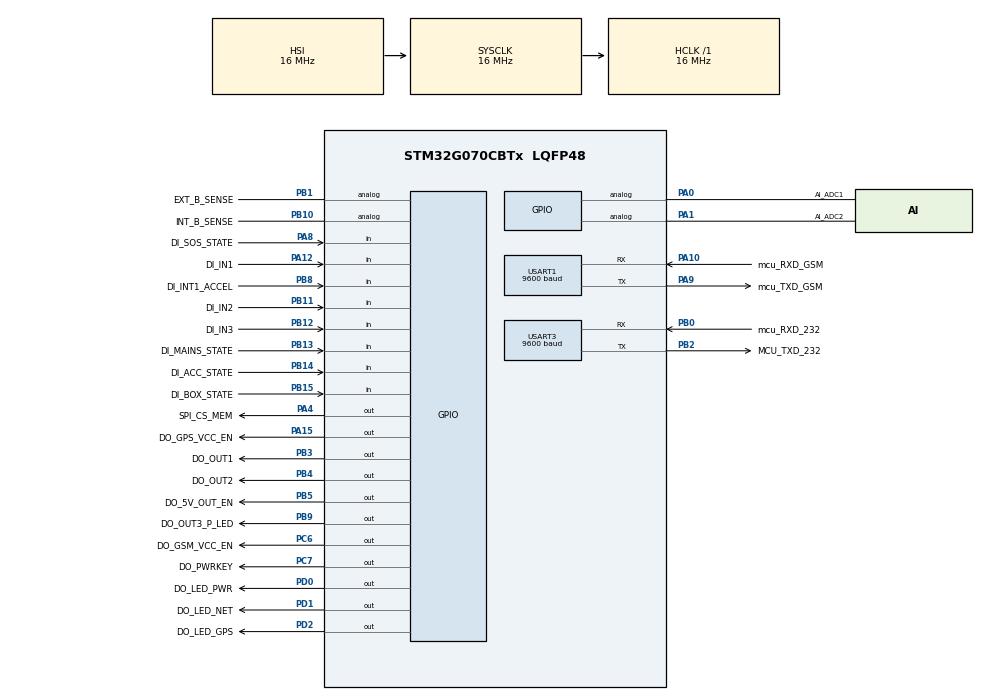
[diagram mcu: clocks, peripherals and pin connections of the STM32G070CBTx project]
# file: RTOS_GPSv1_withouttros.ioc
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Dma.Request0=USART1_RX
Dma.Request1=USART3_TX
Dma.USART1_RX.0.Direction=DMA_PERIPH_TO_MEMORY
Dma.USART1_RX.0.EventEnable=DISABLE
Dma.USART1_RX.0.Instance=DMA1_Channel2
Dma.USART1_RX.0.MemDataAlignment=DMA_MDATAALIGN_BYTE
Dma.USART1_RX.0.MemInc=DMA_MINC_ENABLE
Dma.USART1_RX.0.Mode=DMA_NORMAL
Dma.USART1_RX.0.PeriphDataAlignment=DMA_PDATAALIGN_BYTE
Dma.USART1_RX.0.PeriphInc=DMA_PINC_DISABLE
Dma.USART1_RX.0.Polarity=HAL_DMAMUX_REQ_GEN_RISING
Dma.USART1_RX.0.Priority=DMA_PRIORITY_LOW
Dma.USART1_RX.0.RequestNumber=1
Dma.USART1_RX.0.SignalID=NONE
Dma.USART1_RX.0.SyncEnable=DISABLE
Dma.USART1_RX.0.SyncPolarity=HAL_DMAMUX_SYNC_NO_EVENT
Dma.USART1_RX.0.SyncRequestNumber=1
Dma.USART1_RX.0.SyncSignalID=NONE
Dma.USART3_TX.1.Direction=DMA_MEMORY_TO_PERIPH
Dma.USART3_TX.1.EventEnable=DISABLE
Dma.USART3_TX.1.Instance=DMA1_Channel4
Dma.USART3_TX.1.MemDataAlignment=DMA_MDATAALIGN_BYTE
Dma.USART3_TX.1.MemInc=DMA_MINC_ENABLE
Dma.USART3_TX.1.Mode=DMA_NORMAL
Dma.USART3_TX.1.PeriphDataAlignment=DMA_PDATAALIGN_BYTE
Dma.USART3_TX.1.PeriphInc=DMA_PINC_DISABLE
Dma.USART3_TX.1.Polarity=HAL_DMAMUX_REQ_GEN_RISING
Dma.USART3_TX.1.Priority=DMA_PRIORITY_LOW
Dma.USART3_TX.1.RequestNumber=1
Dma.USART3_TX.1.SignalID=NONE
Dma.USART3_TX.1.SyncEnable=DISABLE
Dma.USART3_TX.1.SyncPolarity=HAL_DMAMUX_SYNC_NO_EVENT
Dma.USART3_TX.1.SyncRequestNumber=1
Dma.USART3_TX.1.SyncSignalID=NONE
Mcu.Family=STM32G0
Mcu.Name=STM32G070CBTx
Mcu.Package=LQFP48
NVIC.DMA1_Ch4_7_DMAMUX1_OVR_IRQn=true\:0\:0\:false\:false\:true\:false\:true\:true
NVIC.DMA1_Channel2_3_IRQn=true\:0\:0\:false\:false\:true\:false\:true\:true
NVIC.TIM1_BRK_UP_TRG_COM_IRQn=true\:3\:0\:false\:false\:true\:false\:true\:true
NVIC.TIM6_IRQn=true\:0\:0\:false\:false\:true\:true\:true\:true
NVIC.TimeBase=TIM1_BRK_UP_TRG_COM_IRQn
NVIC.TimeBaseIP=TIM1
NVIC.USART1_IRQn=true\:0\:0\:false\:false\:true\:true\:true\:true
NVIC.USART3_4_IRQn=true\:0\:0\:false\:false\:true\:true\:true\:true
PA0.GPIO_Label=AI_ADC1
PA0.GPIO_Mode=GPIO_MODE_ANALOG
PA0.GPIO_PuPd=GPIO_NOPULL
PA0.Signal=SharedAnalog_PA0
PA1.GPIO_Label=AI_ADC2
PA1.GPIO_Mode=GPIO_MODE_ANALOG
PA1.GPIO_PuPd=GPIO_NOPULL
PA1.Signal=SharedAnalog_PA1
PA10.GPIO_FMPA10=__NULL
PA10.GPIO_Label=mcu_RXD_GSM
PA10.GPIO_ModeDefaultPP=GPIO_MODE_AF_PP
PA10.GPIO_PuPd=GPIO_NOPULL
PA10.GPIO_Speed=GPIO_SPEED_FREQ_LOW
PA10.Mode=Asynchronous
PA10.Signal=USART1_RX
PA12\ [PA10].GPIO_Label=DI_IN1
PA12\ [PA10].GPIO_Mode=GPIO_MODE_INPUT
PA12\ [PA10].GPIO_PuPd=GPIO_NOPULL
PA12\ [PA10].Signal=GPIO_Input
PA13.GPIO_Label=SWDIO
PA13.Mode=Serial_Wire
PA13.Signal=SYS_SWDIO
PA14-BOOT0.GPIO_Label=SWCLK
PA14-BOOT0.Mode=Serial_Wire
PA14-BOOT0.Signal=SYS_SWCLK
PA15.GPIO_Label=DO_GPS_VCC_EN
PA15.GPIO_ModeDefaultOutputPP=GPIO_MODE_OUTPUT_PP
PA15.GPIO_PuPd=GPIO_NOPULL
PA15.GPIO_Speed=GPIO_SPEED_FREQ_LOW
PA15.PinState=GPIO_PIN_RESET
PA15.Signal=GPIO_Output
PA2.GPIO_ModeDefaultPP=GPIO_MODE_AF_PP
PA2.GPIO_PuPd=GPIO_NOPULL
PA2.GPIO_Speed=GPIO_SPEED_FREQ_LOW
PA2.PinState=GPIO_PIN_RESET
PA2.Signal=USART2_TX
PA3.GPIO_ModeDefaultPP=GPIO_MODE_AF_PP
PA3.GPIO_PuPd=GPIO_NOPULL
PA3.GPIO_Speed=GPIO_SPEED_FREQ_LOW
PA3.PinState=GPIO_PIN_RESET
PA3.Signal=USART2_RX
PA4.GPIO_Label=SPI_CS_MEM
PA4.Signal=GPIO_Output
PA5.GPIO_Label=SPI_CLK
PA5.GPIO_Mode=GPIO_MODE_AF_PP
PA5.GPIO_PuPd=GPIO_NOPULL
PA5.GPIO_Speed=GPIO_SPEED_FREQ_LOW
PA5.PinState=GPIO_PIN_RESET
PA5.Signal=SPI1_SCK
PA6.GPIO_Label=SPI_MISO
PA6.GPIO_Mode=GPIO_MODE_AF_PP
PA6.GPIO_PuPd=GPIO_NOPULL
PA6.GPIO_Speed=GPIO_SPEED_FREQ_LOW
PA6.PinState=GPIO_PIN_RESET
PA6.Signal=SPI1_MISO
PA7.GPIO_Label=SPI_MOSI
PA7.GPIO_Mode=GPIO_MODE_AF_PP
PA7.GPIO_PuPd=GPIO_NOPULL
PA7.GPIO_Speed=GPIO_SPEED_FREQ_LOW
PA7.PinState=GPIO_PIN_RESET
PA7.Signal=SPI1_MOSI
PA8.GPIO_Label=DI_SOS_STATE
PA8.GPIO_Mode=GPIO_MODE_INPUT
PA8.GPIO_PuPd=GPIO_NOPULL
PA8.Signal=GPIO_Input
PA9.GPIO_FMPA9=__NULL
PA9.GPIO_Label=mcu_TXD_GSM
PA9.GPIO_ModeDefaultPP=GPIO_MODE_AF_PP
PA9.GPIO_PuPd=GPIO_NOPULL
PA9.GPIO_Speed=GPIO_SPEED_FREQ_LOW
PA9.Mode=Asynchronous
PA9.Signal=USART1_TX
PB0.GPIO_Label=mcu_RXD_232
PB0.GPIO_ModeDefaultPP=GPIO_MODE_AF_PP
PB0.GPIO_PuPd=GPIO_NOPULL
PB0.GPIO_Speed=GPIO_SPEED_FREQ_LOW
PB0.Mode=Asynchronous
PB0.PinState=GPIO_PIN_RESET
PB0.Signal=USART3_RX
PB1.GPIO_Label=EXT_B_SENSE
PB1.GPIO_Mode=GPIO_MODE_ANALOG
PB1.GPIO_PuPd=GPIO_NOPULL
PB1.Signal=SharedAnalog_PB1
PB10.GPIO_Label=INT_B_SENSE
PB10.GPIO_Mode=GPIO_MODE_ANALOG
PB10.GPIO_PuPd=GPIO_NOPULL
PB10.Signal=SharedAnalog_PB10
PB11.GPIO_Label=DI_IN2
PB11.GPIO_Mode=GPIO_MODE_INPUT
PB11.GPIO_PuPd=GPIO_NOPULL
PB11.Signal=GPIO_Input
PB12.GPIO_Label=DI_IN3
PB12.GPIO_Mode=GPIO_MODE_INPUT
PB12.GPIO_PuPd=GPIO_NOPULL
PB12.Signal=GPIO_Input
PB13.GPIO_Label=DI_MAINS_STATE
PB13.GPIO_Mode=GPIO_MODE_INPUT
PB13.GPIO_PuPd=GPIO_NOPULL
PB13.Signal=GPIO_Input
PB14.GPIO_Label=DI_ACC_STATE
PB14.GPIO_Mode=GPIO_MODE_INPUT
PB14.GPIO_PuPd=GPIO_NOPULL
PB14.Signal=GPIO_Input
PB15.GPIO_Label=DI_BOX_STATE
PB15.GPIO_Mode=GPIO_MODE_INPUT
PB15.GPIO_PuPd=GPIO_NOPULL
PB15.Signal=GPIO_Input
PB2.GPIO_Label=MCU_TXD_232
PB2.GPIO_ModeDefaultPP=GPIO_MODE_AF_PP
PB2.GPIO_PuPd=GPIO_NOPULL
PB2.GPIO_Speed=GPIO_SPEED_FREQ_LOW
PB2.Mode=Asynchronous
PB2.PinState=GPIO_PIN_RESET
PB2.Signal=USART3_TX
PB3.GPIO_Label=DO_OUT1
PB3.GPIO_ModeDefaultOutputPP=GPIO_MODE_OUTPUT_PP
PB3.GPIO_PuPd=GPIO_NOPULL
PB3.GPIO_Speed=GPIO_SPEED_FREQ_LOW
PB3.PinState=GPIO_PIN_RESET
PB3.Signal=GPIO_Output
PB4.GPIO_Label=DO_OUT2
PB4.GPIO_ModeDefaultOutputPP=GPIO_MODE_OUTPUT_PP
PB4.GPIO_PuPd=GPIO_NOPULL
PB4.GPIO_Speed=GPIO_SPEED_FREQ_LOW
PB4.PinState=GPIO_PIN_RESET
PB4.Signal=GPIO_Output
PB5.GPIO_Label=DO_5V_OUT_EN
PB5.GPIO_ModeDefaultOutputPP=GPIO_MODE_OUTPUT_PP
PB5.GPIO_PuPd=GPIO_NOPULL
PB5.GPIO_Speed=GPIO_SPEED_FREQ_LOW
PB5.PinState=GPIO_PIN_RESET
PB5.Signal=GPIO_Output
PB6.GPIO_FM6=__NULL
PB6.GPIO_Label=SCL
PB6.GPIO_Mode=GPIO_MODE_AF_OD
PB6.GPIO_Pu=GPIO_PULLUP
PB6.GPIO_Speed=GPIO_SPEED_FREQ_LOW
PB6.Signal=I2C1_SCL
PB7.GPIO_FM7=__NULL
PB7.GPIO_Label=SDA
PB7.GPIO_Mode=GPIO_MODE_AF_OD
PB7.GPIO_Pu=GPIO_PULLUP
PB7.GPIO_Speed=GPIO_SPEED_FREQ_LOW
PB7.Signal=I2C1_SDA
PB8.GPIO_Label=DI_INT1_ACCEL
PB8.GPIO_Mode=GPIO_MODE_INPUT
PB8.GPIO_PuPd=GPIO_NOPULL
PB8.Signal=GPIO_Input
PB9.GPIO_FM9=__NULL
PB9.GPIO_Label=DO_OUT3_P_LED
PB9.GPIO_ModeDefaultOutputPP=GPIO_MODE_OUTPUT_PP
PB9.GPIO_PuPd=GPIO_NOPULL
PB9.GPIO_Speed=GPIO_SPEED_FREQ_LOW
PB9.PinState=GPIO_PIN_RESET
PB9.Signal=GPIO_Output
PC14-OSC32_IN\ (PC14).GPIO_Label=OSC32_IN
PC14-OSC32_IN\ (PC14).Mode=LSE-External-Oscillator
PC14-OSC32_IN\ (PC14).Signal=RCC_OSC32_IN
PC15-OSC32_OUT\ (PC15).GPIO_Label=OSC32_OUT
PC15-OSC32_OUT\ (PC15).Mode=LSE-External-Oscillator
PC15-OSC32_OUT\ (PC15).Signal=RCC_OSC32_OUT
PC6.GPIO_Label=DO_GSM_VCC_EN
PC6.GPIO_ModeDefaultOutputPP=GPIO_MODE_OUTPUT_PP
PC6.GPIO_PuPd=GPIO_NOPULL
PC6.GPIO_Speed=GPIO_SPEED_FREQ_LOW
PC6.PinState=GPIO_PIN_RESET
PC6.Signal=GPIO_Output
PC7.GPIO_Label=DO_PWRKEY
PC7.GPIO_ModeDefaultOutputPP=GPIO_MODE_OUTPUT_PP
PC7.GPIO_PuPd=GPIO_NOPULL
PC7.GPIO_Speed=GPIO_SPEED_FREQ_LOW
PC7.PinState=GPIO_PIN_RESET
PC7.Signal=GPIO_Output
PD0.GPIO_Label=DO_LED_PWR
PD0.GPIO_ModeDefaultOutputPP=GPIO_MODE_OUTPUT_PP
PD0.GPIO_PuPd=GPIO_NOPULL
PD0.GPIO_Speed=GPIO_SPEED_FREQ_LOW
PD0.PinState=GPIO_PIN_RESET
PD0.Signal=GPIO_Output
PD1.GPIO_Label=DO_LED_NET
PD1.GPIO_ModeDefaultOutputPP=GPIO_MODE_OUTPUT_PP
PD1.GPIO_PuPd=GPIO_NOPULL
PD1.GPIO_Speed=GPIO_SPEED_FREQ_LOW
PD1.PinState=GPIO_PIN_RESET
PD1.Signal=GPIO_Output
PD2.GPIO_Label=DO_LED_GPS
PD2.GPIO_ModeDefaultOutputPP=GPIO_MODE_OUTPUT_PP
PD2.GPIO_PuPd=GPIO_NOPULL
PD2.GPIO_Speed=GPIO_SPEED_FREQ_LOW
PD2.PinState=GPIO_PIN_RESET
PD2.Signal=GPIO_Output
PF0-OSC_IN\ (PF0).GPIO_Label=OSC_IN
PF0-OSC_IN\ (PF0).Mode=HSE-External-Oscillator
PF0-OSC_IN\ (PF0).Signal=RCC_OSC_IN
PF1-OSC_OUT\ (PF1).GPIO_Label=OSC_OUT
PF1-OSC_OUT\ (PF1).Mode=HSE-External-Oscillator
PF1-OSC_OUT\ (PF1).Signal=RCC_OSC_OUT
ProjectManager.HeapSize=0x200
ProjectManager.StackSize=0x400
ProjectManager.TargetToolchain=STM32CubeIDE
RCC.ADCFreq_Value=16000000
RCC.AHBFreq_Value=16000000
RCC.APB1CLKDivider=RCC_HCLK_DIV4
RCC.CortexFreq_Value=16000000
RCC.EXTERNAL_CLOCK_VALUE=48000
RCC.HCLKFreq_Value=16000000
RCC.HSE_VALUE=8000000
RCC.HSI_VALUE=16000000
RCC.SYSCLKFreq_VALUE=16000000
RCC.VCOOutputFreq_Value=128000000
SH.SharedAnalog_PA0.0=GPIO_Analog
SH.SharedAnalog_PA0.1=ADC1_IN0
SH.SharedAnalog_PA1.0=GPIO_Analog
SH.SharedAnalog_PA1.1=ADC1_IN1
SH.SharedAnalog_PB1.0=GPIO_Analog
SH.SharedAnalog_PB1.1=ADC1_IN9
SH.SharedAnalog_PB10.0=GPIO_Analog
SH.SharedAnalog_PB10.1=ADC1_IN11
TIM6.Period=500-1
TIM6.Prescaler=8000-1
USART1.BaudRate=9600
USART1.VirtualMode-Asynchronous=VM_ASYNC
USART1.WordLength=WORDLENGTH_8B
USART3.BaudRate=9600
USART3.VirtualMode-Asynchronous=VM_ASYNC
USART3.WordLength=WORDLENGTH_8B
VP_SYS_VS_DBSignals.Mode=DisableDeadBatterySignals
VP_SYS_VS_tim1.Mode=TIM1
VP_TIM6_VS_ClockSourceINT.Mode=Enable_Timer
board=custom

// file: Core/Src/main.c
/* USER CODE BEGIN Header */
/**
  ******************************************************************************
  * @file           : main.c
  * @brief          : Main program body
  ******************************************************************************
  * @attention
  *
  * Copyright (c) 2023 STMicroelectronics.
  * All rights reserved.
  *
  * This software is licensed under terms that can be found in the LICENSE file
  * in the root directory of this software component.
  * If no LICENSE file comes with this software, it is provided AS-IS.
  *
  ******************************************************************************
  */
/* USER CODE END Header */
#include "main.h"

/* USER CODE BEGIN PD */

char IMEI[20];
char in3[1000];
char inn[2];

char simop[25];
int TimeCount=0;
int RunCnt=0;
int DMAon=1;

TIM_HandleTypeDef htim6;

UART_HandleTypeDef huart1;
UART_HandleTypeDef huart2;
UART_HandleTypeDef huart3;
DMA_HandleTypeDef hdma_usart1_rx;
DMA_HandleTypeDef hdma_usart3_tx;

static void Debug_Tx(char[]);
static char* Debug_Rx(void);
static void GSM_Tx(const char[]);
//static void GPS_Tx(const char[]);
static void GSM_TxL(const char[]);
//static char* GSM_Rx(void);
//static char* GSM_RxL(void);
float stor(const char*);

#include "gpio.h"
#include "gsm.h"
/* USER CODE END PD */

TIM_HandleTypeDef htim6;

UART_HandleTypeDef huart1;
UART_HandleTypeDef huart3;
DMA_HandleTypeDef hdma_usart1_rx;
DMA_HandleTypeDef hdma_usart3_tx;

void SystemClock_Config(void);
static void MX_GPIO_Init(void);
static void MX_DMA_Init(void);
static void MX_TIM6_Init(void);
static void MX_USART1_UART_Init(void);
static void MX_USART3_UART_Init(void);

/* USER CODE BEGIN 0 */

float stor(const char* str) {
    float result = 0;
    float sign = *str == '-' ? str++, -1 : 1;
    while (*str >= '0' && *str <= '9') {
        result *= 10;
        result += *str - '0';
        str++;
    }
    if (*str == ',' || *str == '.') {
        str++;
        float multiplier = 0.1;
        while (*str >= '0' && *str <= '9') {
            result += (*str - '0') * multiplier;
            multiplier /= 10;
            str++;
        }
    }
    result *= sign;
    if (*str == 'e' || *str == 'E') {
        str++;
        float powerer = *str == '-'? str++, 0.1 : 10;
        float power = 0;
        while (*str >= '0' && *str <= '9') {
            power *= 10;
            power += *str - '0';
            str++;
        }
        result *= pow(powerer, power);
    }
    return result;
}

void HAL_UART_TxCpltCallback(UART_HandleTypeDef *huart)
{

}
void HAL_UART_RxCpltCallback(UART_HandleTypeDef *huart){
	{

	  HAL_GPIO_TogglePin (GPIOD, DO_LED_GPS_Pin);
	//Debug_Tx("V");

	if(huart==&huart1){
		if(strlen((char*)GSMData)<1900){
		    if(GSMBuff[0]!=0)	strcat(GSMData,(char*)GSMBuff);
		}

		if(DMAon==1){
		GSMBuff[0]=0;
		//__HAL_UART_CLEAR_IT(&huart1, UART_CLEAR_NEF|UART_CLEAR_OREF);
		HAL_UART_Receive_DMA(&huart1, GSMBuff, 1);
		}
	}
	}

}

void HAL_UART_ErrorCallback(UART_HandleTypeDef *huart){

	if(huart==&huart1){

		if(DMAon==1){
		//Debug_Tx("GSMErr");
		GSMBuff[0]=0;
		__HAL_UART_CLEAR_IT(&huart1, UART_CLEAR_NEF|UART_CLEAR_OREF);
			    	HAL_UART_Receive_DMA(&huart1, GSMBuff, 1);
		}
	}

}

void restartGSMuart(){GSMBuff[0]=0;__HAL_UART_CLEAR_IT(&huart2, UART_CLEAR_NEF|UART_CLEAR_OREF);

__HAL_UART_CLEAR_IT(&huart1, UART_CLEAR_NEF|UART_CLEAR_OREF);
HAL_UART_Receive_DMA(&huart1, GSMBuff, 1);

}

 static void Debug_Tx(char _out[]){

	__HAL_UART_CLEAR_IT(&huart3, UART_CLEAR_NEF|UART_CLEAR_OREF);
	HAL_UART_Transmit(&huart3, (uint8_t *) _out, strlen(_out), 5000);
	char newline[2] = "\r\n";
	HAL_UART_Transmit(&huart3, (uint8_t *) newline, 2, 10);

}

static char* Debug_Rx(){

	__HAL_UART_CLEAR_IT(&huart3, UART_CLEAR_NEF|UART_CLEAR_OREF);
	HAL_UART_Receive(&huart3, (uint8_t *)inn, 1000, 300);
	return(inn);

}

static void GSM_Tx(const char _out[]){
	 __HAL_UART_CLEAR_IT(&huart1, UART_CLEAR_NEF|UART_CLEAR_OREF);
		HAL_UART_Transmit(&huart1, (uint8_t *) _out, strlen(_out), 300);
	//memset(_out,0,strlen(_out));
}

static void GSM_TxL(const char _out[]){

	  __HAL_UART_CLEAR_IT(&huart1, UART_CLEAR_NEF|UART_CLEAR_OREF);
	HAL_UART_Transmit(&huart1, (uint8_t *) _out, strlen(_out), 5000);
	//memset(_out,0,strlen(_out));
}

/*
static void GPS_Tx(const char _out[]){
	__HAL_UART_CLEAR_IT(&huart2, UART_CLEAR_NEF|UART_CLEAR_OREF);
	HAL_UART_Transmit(&huart2, (uint8_t *) _out, strlen(_out), 300);
	//memset(_out,0,strlen(_out));
}

static char* GSM_RxL(){
	memset(GSMData,0,1000);
	//memset(ret,0,1000);
	__HAL_UART_CLEAR_IT(&huart1, UART_CLEAR_NEF|UART_CLEAR_OREF);
	HAL_UART_Receive(&huart1, (uint8_t *)GSMData, 500, 350);
	//timedWork();
	return(GSMData);

}

static char* GSM_Rx(){
	GSMBuff[0]=0;
	    	//__HAL_UART_CLEAR_IT(&huart2, UART_CLEAR_NEF|UART_CLEAR_OREF);
	HAL_UART_Receive_DMA(&huart1, GSMBuff, 1);
	memset(GSMData,0,1000);

	  __HAL_UART_CLEAR_IT(&huart1, UART_CLEAR_NEF|UART_CLEAR_OREF);
	HAL_UART_Receive(&huart1, (uint8_t *)GSMData, 100, 50);

	return(GSMData);
}

*/

/* USER CODE END 0 */

int main(void)
{

  /* MCU Configuration--------------------------------------------------------*/

  /* Reset of all peripherals, Initializes the Flash interface and the Systick. */
  HAL_Init();

  /* Configure the system clock */
  SystemClock_Config();

  /* Initialize all configured peripherals */
  MX_GPIO_Init();
  MX_DMA_Init();
  MX_TIM6_Init();
  MX_USART1_UART_Init();
  MX_USART3_UART_Init();

  /* Infinite loop */
  /* USER CODE BEGIN WHILE */

  //TestDigitalOutput();
  SET_GPS_VCC_EN(1);
  SET_GSM_VCC_EN(1);
  SET_PWRKEY(1);
  SET_5V_OUT_EN(1);
  SET_GPS_VCC_EN(1);
  SET_GSM_VCC_EN(1);
  SET_PWRKEY(1);
  GSMBuff[0]=0;

  __disable_irq();
  go2APP();

  __HAL_UART_CLEAR_IT(&huart1, UART_CLEAR_NEF|UART_CLEAR_OREF);
  HAL_UART_Receive_DMA(&huart1, GSMBuff, 1);

  InitGSM();

   memset(IMEI,0,20);
  strcpy(IMEI,GSMIMEI());

  //StartTCPConnection();
  while (1){DownloadFile();
    //  GSMSigQuality();
  //	TestRun();
  }
  /* USER CODE END 3 */
}

void SystemClock_Config(void)
{
  RCC_OscInitTypeDef RCC_OscInitStruct = {0};
  RCC_ClkInitTypeDef RCC_ClkInitStruct = {0};

  /** Configure the main internal regulator output voltage
  */
  HAL_PWREx_ControlVoltageScaling(PWR_REGULATOR_VOLTAGE_SCALE1);

  /** Initializes the RCC Oscillators according to the specified parameters
  * in the RCC_OscInitTypeDef structure.
  */
  RCC_OscInitStruct.OscillatorType = RCC_OSCILLATORTYPE_HSI;
  RCC_OscInitStruct.HSIState = RCC_HSI_ON;
  RCC_OscInitStruct.HSIDiv = RCC_HSI_DIV1;
  RCC_OscInitStruct.HSICalibrationValue = RCC_HSICALIBRATION_DEFAULT;
  RCC_OscInitStruct.PLL.PLLState = RCC_PLL_NONE;
  if (HAL_RCC_OscConfig(&RCC_OscInitStruct) != HAL_OK)
  {
    Error_Handler();
  }

  /** Initializes the CPU, AHB and APB buses clocks
  */
  RCC_ClkInitStruct.ClockType = RCC_CLOCKTYPE_HCLK|RCC_CLOCKTYPE_SYSCLK
                              |RCC_CLOCKTYPE_PCLK1;
  RCC_ClkInitStruct.SYSCLKSource = RCC_SYSCLKSOURCE_HSI;
  RCC_ClkInitStruct.AHBCLKDivider = RCC_SYSCLK_DIV1;
  RCC_ClkInitStruct.APB1CLKDivider = RCC_HCLK_DIV4;

  if (HAL_RCC_ClockConfig(&RCC_ClkInitStruct, FLASH_LATENCY_0) != HAL_OK)
  {
    Error_Handler();
  }
}

static void MX_TIM6_Init(void)
{

  TIM_MasterConfigTypeDef sMasterConfig = {0};

  htim6.Instance = TIM6;
  htim6.Init.Prescaler = 8000-1;
  htim6.Init.CounterMode = TIM_COUNTERMODE_UP;
  htim6.Init.Period = 500-1;
  htim6.Init.AutoReloadPreload = TIM_AUTORELOAD_PRELOAD_DISABLE;
  if (HAL_TIM_Base_Init(&htim6) != HAL_OK)
  {
    Error_Handler();
  }
  sMasterConfig.MasterOutputTrigger = TIM_TRGO_RESET;
  sMasterConfig.MasterSlaveMode = TIM_MASTERSLAVEMODE_DISABLE;
  if (HAL_TIMEx_MasterConfigSynchronization(&htim6, &sMasterConfig) != HAL_OK)
  {
    Error_Handler();
  }

}

static void MX_USART1_UART_Init(void)
{

  huart1.Instance = USART1;
  huart1.Init.BaudRate = 9600;
  huart1.Init.WordLength = UART_WORDLENGTH_8B;
  huart1.Init.StopBits = UART_STOPBITS_1;
  huart1.Init.Parity = UART_PARITY_NONE;
  huart1.Init.Mode = UART_MODE_TX_RX;
  huart1.Init.HwFlowCtl = UART_HWCONTROL_NONE;
  huart1.Init.OverSampling = UART_OVERSAMPLING_16;
  huart1.Init.OneBitSampling = UART_ONE_BIT_SAMPLE_DISABLE;
  huart1.Init.ClockPrescaler = UART_PRESCALER_DIV1;
  huart1.AdvancedInit.AdvFeatureInit = UART_ADVFEATURE_NO_INIT;
  if (HAL_UART_Init(&huart1) != HAL_OK)
  {
    Error_Handler();
  }
  if (HAL_UARTEx_SetTxFifoThreshold(&huart1, UART_TXFIFO_THRESHOLD_1_8) != HAL_OK)
  {
    Error_Handler();
  }
  if (HAL_UARTEx_SetRxFifoThreshold(&huart1, UART_RXFIFO_THRESHOLD_1_8) != HAL_OK)
  {
    Error_Handler();
  }
  if (HAL_UARTEx_DisableFifoMode(&huart1) != HAL_OK)
  {
    Error_Handler();
  }

}

static void MX_USART3_UART_Init(void)
{

  huart3.Instance = USART3;
  huart3.Init.BaudRate = 9600;
  huart3.Init.WordLength = UART_WORDLENGTH_8B;
  huart3.Init.StopBits = UART_STOPBITS_1;
  huart3.Init.Parity = UART_PARITY_NONE;
  huart3.Init.Mode = UART_MODE_TX_RX;
  huart3.Init.HwFlowCtl = UART_HWCONTROL_NONE;
  huart3.Init.OverSampling = UART_OVERSAMPLING_16;
  huart3.Init.OneBitSampling = UART_ONE_BIT_SAMPLE_DISABLE;
  huart3.Init.ClockPrescaler = UART_PRESCALER_DIV1;
  huart3.AdvancedInit.AdvFeatureInit = UART_ADVFEATURE_NO_INIT;
  if (HAL_UART_Init(&huart3) != HAL_OK)
  {
    Error_Handler();
  }

}

static void MX_DMA_Init(void)
{

  /* DMA controller clock enable */
  __HAL_RCC_DMA1_CLK_ENABLE();

  /* DMA interrupt init */
  /* DMA1_Channel2_3_IRQn interrupt configuration */
  HAL_NVIC_SetPriority(DMA1_Channel2_3_IRQn, 0, 0);
  HAL_NVIC_EnableIRQ(DMA1_Channel2_3_IRQn);
  /* DMA1_Ch4_7_DMAMUX1_OVR_IRQn interrupt configuration */
  HAL_NVIC_SetPriority(DMA1_Ch4_7_DMAMUX1_OVR_IRQn, 0, 0);
  HAL_NVIC_EnableIRQ(DMA1_Ch4_7_DMAMUX1_OVR_IRQn);

}

static void MX_GPIO_Init(void)
{
  GPIO_InitTypeDef GPIO_InitStruct = {0};

  /* GPIO Ports Clock Enable */
  __HAL_RCC_GPIOC_CLK_ENABLE();
  __HAL_RCC_GPIOF_CLK_ENABLE();
  __HAL_RCC_GPIOA_CLK_ENABLE();
  __HAL_RCC_GPIOB_CLK_ENABLE();
  __HAL_RCC_GPIOD_CLK_ENABLE();

  /*Configure GPIO pin Output Level */
  HAL_GPIO_WritePin(GPIOA, SPI_CS_MEM_Pin|DO_GPS_VCC_EN_Pin, GPIO_PIN_RESET);

  /*Configure GPIO pin Output Level */
  HAL_GPIO_WritePin(GPIOC, DO_GSM_VCC_EN_Pin|DO_PWRKEY_Pin, GPIO_PIN_RESET);

  /*Configure GPIO pin Output Level */
  HAL_GPIO_WritePin(GPIOD, DO_LED_PWR_Pin|DO_LED_NET_Pin|DO_LED_GPS_Pin, GPIO_PIN_RESET);

  /*Configure GPIO pin Output Level */
  HAL_GPIO_WritePin(GPIOB, DO_OUT1_Pin|DO_OUT2_Pin|DO_5V_OUT_EN_Pin|DO_OUT3_P_LED_Pin, GPIO_PIN_RESET);

  /*Configure GPIO pins : AI_ADC1_Pin AI_ADC2_Pin */
  GPIO_InitStruct.Pin = AI_ADC1_Pin|AI_ADC2_Pin;
  GPIO_InitStruct.Mode = GPIO_MODE_ANALOG;
  GPIO_InitStruct.Pull = GPIO_NOPULL;
  HAL_GPIO_Init(GPIOA, &GPIO_InitStruct);

  /*Configure GPIO pins : PA2 PA3 */
  GPIO_InitStruct.Pin = GPIO_PIN_2|GPIO_PIN_3;
  GPIO_InitStruct.Mode = GPIO_MODE_AF_PP;
  GPIO_InitStruct.Pull = GPIO_NOPULL;
  GPIO_InitStruct.Speed = GPIO_SPEED_FREQ_LOW;
  GPIO_InitStruct.Alternate = GPIO_AF1_USART2;
  HAL_GPIO_Init(GPIOA, &GPIO_InitStruct);

  /*Configure GPIO pins : SPI_CS_MEM_Pin DO_GPS_VCC_EN_Pin */
  GPIO_InitStruct.Pin = SPI_CS_MEM_Pin|DO_GPS_VCC_EN_Pin;
  GPIO_InitStruct.Mode = GPIO_MODE_OUTPUT_PP;
  GPIO_InitStruct.Pull = GPIO_NOPULL;
  GPIO_InitStruct.Speed = GPIO_SPEED_FREQ_LOW;
  HAL_GPIO_Init(GPIOA, &GPIO_InitStruct);

  /*Configure GPIO pins : SPI_CLK_Pin SPI_MISO_Pin SPI_MOSI_Pin */
  GPIO_InitStruct.Pin = SPI_CLK_Pin|SPI_MISO_Pin|SPI_MOSI_Pin;
  GPIO_InitStruct.Mode = GPIO_MODE_AF_PP;
  GPIO_InitStruct.Pull = GPIO_NOPULL;
  GPIO_InitStruct.Speed = GPIO_SPEED_FREQ_LOW;
  GPIO_InitStruct.Alternate = GPIO_AF0_SPI1;
  HAL_GPIO_Init(GPIOA, &GPIO_InitStruct);

  /*Configure GPIO pins : EXT_B_SENSE_Pin INT_B_SENSE_Pin */
  GPIO_InitStruct.Pin = EXT_B_SENSE_Pin|INT_B_SENSE_Pin;
  GPIO_InitStruct.Mode = GPIO_MODE_ANALOG;
  GPIO_InitStruct.Pull = GPIO_NOPULL;
  HAL_GPIO_Init(GPIOB, &GPIO_InitStruct);

  /*Configure GPIO pins : DI_IN2_Pin DI_IN3_Pin DI_MAINS_STATE_Pin DI_ACC_STATE_Pin
                           DI_BOX_STATE_Pin DI_INT1_ACCEL_Pin */
  GPIO_InitStruct.Pin = DI_IN2_Pin|DI_IN3_Pin|DI_MAINS_STATE_Pin|DI_ACC_STATE_Pin
                          |DI_BOX_STATE_Pin|DI_INT1_ACCEL_Pin;
  GPIO_InitStruct.Mode = GPIO_MODE_INPUT;
  GPIO_InitStruct.Pull = GPIO_NOPULL;
  HAL_GPIO_Init(GPIOB, &GPIO_InitStruct);

  /*Configure GPIO pins : DI_SOS_STATE_Pin DI_IN1_Pin */
  GPIO_InitStruct.Pin = DI_SOS_STATE_Pin|DI_IN1_Pin;
  GPIO_InitStruct.Mode = GPIO_MODE_INPUT;
  GPIO_InitStruct.Pull = GPIO_NOPULL;
  HAL_GPIO_Init(GPIOA, &GPIO_InitStruct);

  /*Configure GPIO pins : DO_GSM_VCC_EN_Pin DO_PWRKEY_Pin */
  GPIO_InitStruct.Pin = DO_GSM_VCC_EN_Pin|DO_PWRKEY_Pin;
  GPIO_InitStruct.Mode = GPIO_MODE_OUTPUT_PP;
  GPIO_InitStruct.Pull = GPIO_NOPULL;
  GPIO_InitStruct.Speed = GPIO_SPEED_FREQ_LOW;
  HAL_GPIO_Init(GPIOC, &GPIO_InitStruct);

  /*Configure GPIO pins : DO_LED_PWR_Pin DO_LED_NET_Pin DO_LED_GPS_Pin */
  GPIO_InitStruct.Pin = DO_LED_PWR_Pin|DO_LED_NET_Pin|DO_LED_GPS_Pin;
  GPIO_InitStruct.Mode = GPIO_MODE_OUTPUT_PP;
  GPIO_InitStruct.Pull = GPIO_NOPULL;
  GPIO_InitStruct.Speed = GPIO_SPEED_FREQ_LOW;
  HAL_GPIO_Init(GPIOD, &GPIO_InitStruct);

  /*Configure GPIO pins : DO_OUT1_Pin DO_OUT2_Pin DO_5V_OUT_EN_Pin DO_OUT3_P_LED_Pin */
  GPIO_InitStruct.Pin = DO_OUT1_Pin|DO_OUT2_Pin|DO_5V_OUT_EN_Pin|DO_OUT3_P_LED_Pin;
  GPIO_InitStruct.Mode = GPIO_MODE_OUTPUT_PP;
  GPIO_InitStruct.Pull = GPIO_NOPULL;
  GPIO_InitStruct.Speed = GPIO_SPEED_FREQ_LOW;
  HAL_GPIO_Init(GPIOB, &GPIO_InitStruct);

  /*Configure GPIO pins : SCL_Pin SDA_Pin */
  GPIO_InitStruct.Pin = SCL_Pin|SDA_Pin;
  GPIO_InitStruct.Mode = GPIO_MODE_AF_OD;
  GPIO_InitStruct.Pull = GPIO_PULLUP;
  GPIO_InitStruct.Speed = GPIO_SPEED_FREQ_LOW;
  GPIO_InitStruct.Alternate = GPIO_AF6_I2C1;
  HAL_GPIO_Init(GPIOB, &GPIO_InitStruct);

}

void HAL_TIM_PeriodElapsedCallback(TIM_HandleTypeDef *htim)
{
  if (htim->Instance == TIM1) {
    HAL_IncTick();
  }
}

void Error_Handler(void)
{
  __disable_irq();
  while (1)
  {
  }
}
